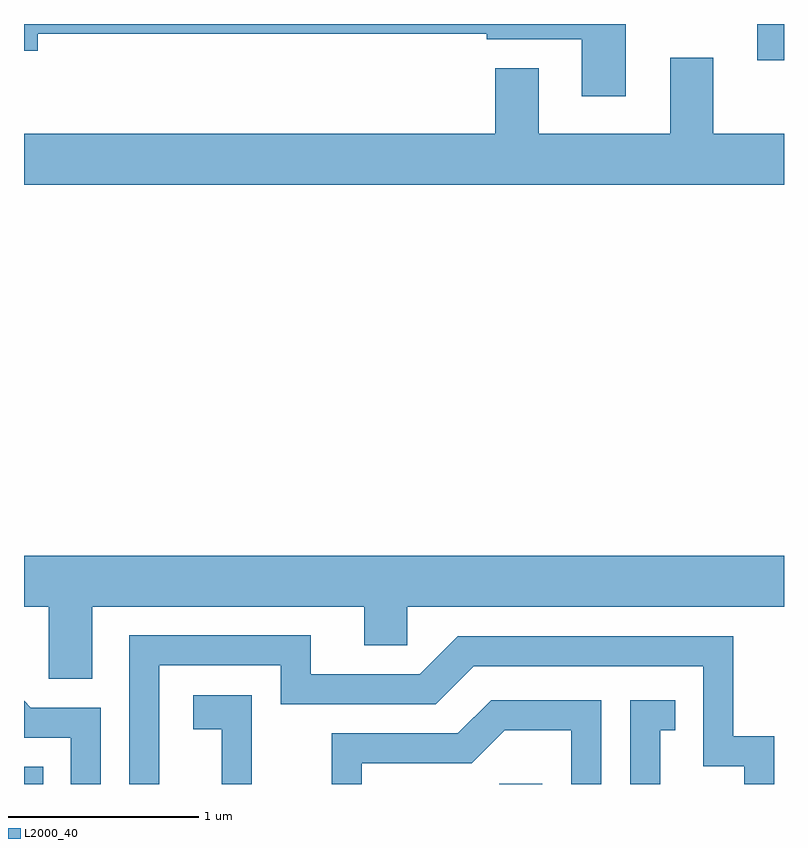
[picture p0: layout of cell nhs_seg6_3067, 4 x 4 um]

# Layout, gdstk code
import gdstk
lib = gdstk.Library(unit=1e-6, precision=1e-09)
def R(c, l, rs):  # rectangles x0, y0, x1, y1
    for r in rs: c.add(gdstk.rectangle(r[:2], r[2:], *l))
def P(c, l, *ps):  # polygons
    for p in ps: c.add(gdstk.Polygon(p, *l))
L2000_40 = (2000, 40)

nhs_seg6_3067 = lib.new_cell('nhs_seg6_3067')
R(nhs_seg6_3067, L2000_40, [(277.611,1600.162,277.713,1600.254), (280.111,1600.162,280.339,1600.164), (281.471,1603.971,281.611,1604.162)])
P(nhs_seg6_3067, L2000_40, [(280.779,1604.162),(277.611,1604.162),(277.611,1604.021),(277.684,1604.021),(277.684,1604.111),(280.046,1604.111),(280.046,1604.081),(280.546,1604.081),(280.546,1603.781),(280.779,1603.781)],
  [(281.611,1603.584),(281.239,1603.584),(281.239,1603.984),(281.011,1603.984),(281.011,1603.584),(280.319,1603.584),(280.319,1603.929),(280.091,1603.929),(280.091,1603.584),(277.611,1603.584),(277.611,1603.316),(281.611,1603.316)],
  [(277.969,1601.096),(279.401,1601.096),(279.401,1600.891),(279.629,1600.891),(279.629,1601.096),(281.611,1601.096),(281.611,1601.364),(277.611,1601.364),(277.611,1601.096),(277.741,1601.096),(277.741,1600.716),(277.969,1600.716)],
  [(278.324,1600.786),(278.961,1600.786),(278.961,1600.581),(279.777,1600.581),(279.977,1600.781),(281.186,1600.781),(281.186,1600.256),(281.401,1600.256),(281.401,1600.162),(281.559,1600.162),(281.559,1600.414),(281.344,1600.414),(281.344,1600.939),(279.894,1600.939),(279.694,1600.739),(279.119,1600.739),(279.119,1600.944),(278.166,1600.944),(278.166,1600.162),(278.324,1600.162)],
  [(278.809,1600.629),(278.501,1600.629),(278.501,1600.451),(278.651,1600.451),(278.651,1600.162),(278.809,1600.162)],
  [(279.389,1600.271),(279.967,1600.271),(280.142,1600.446),(280.491,1600.446),(280.491,1600.162),(280.649,1600.162),(280.649,1600.604),(280.069,1600.604),(279.894,1600.429),(279.231,1600.429),(279.231,1600.162),(279.389,1600.162)],
  [(280.959,1600.446),(281.038,1600.446),(281.038,1600.604),(280.801,1600.604),(280.801,1600.162),(280.959,1600.162)],
  [(278.014,1600.564),(277.647,1600.564),(277.611,1600.6),(277.611,1600.406),(277.856,1600.406),(277.856,1600.162),(278.014,1600.162)])

lib.write_gds('nhs_seg6_3067.gds')
